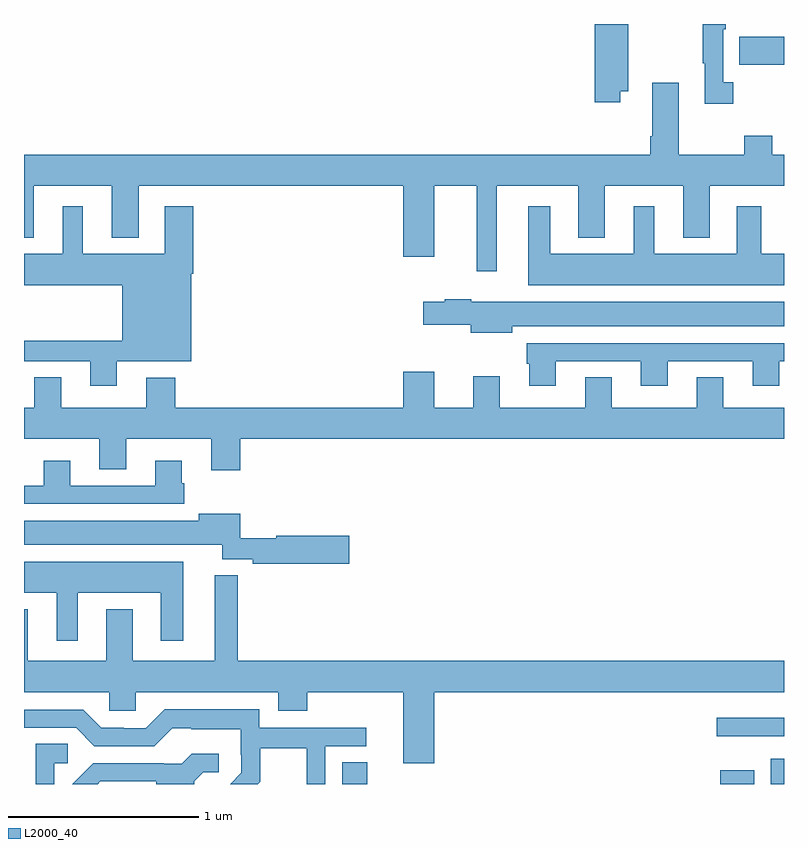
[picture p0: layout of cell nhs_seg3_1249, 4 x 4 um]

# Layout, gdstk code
import gdstk
lib = gdstk.Library(unit=1e-6, precision=1e-09)
def R(c, l, rs):  # rectangles x0, y0, x1, y1
    for r in rs: c.add(gdstk.rectangle(r[:2], r[2:], *l))
def P(c, l, *ps):  # polygons
    for p in ps: c.add(gdstk.Polygon(p, *l))
L2000_40 = (2000, 40)

nhs_seg3_1249 = lib.new_cell('nhs_seg3_1249')
R(nhs_seg3_1249, L2000_40, [(176.675,732.4,176.806,732.515), (178.664,732.4,178.843,732.472), (178.931,732.4,179,732.532), (178.647,732.651,179,732.748), (178.765,736.186,179,736.333)])
P(nhs_seg3_1249, L2000_40, [(178.138,736.046),(178.179,736.046),(178.179,736.4),(178.004,736.4),(178.004,735.987),(178.138,735.987)],
  [(178.732,736.094),(178.68,736.094),(178.68,736.373),(178.693,736.373),(178.693,736.4),(178.572,736.4),(178.572,736.193),(178.583,736.193),(178.583,735.981),(178.732,735.981)],
  [(177.487,735.548),(177.917,735.548),(177.917,735.275),(178.057,735.275),(178.057,735.548),(178.469,735.548),(178.469,735.275),(178.609,735.275),(178.609,735.548),(179,735.548),(179,735.712),(178.939,735.712),(178.939,735.811),(178.792,735.811),(178.792,735.712),(178.447,735.712),(178.447,736.09),(178.307,736.09),(178.307,735.808),(178.295,735.808),(178.295,735.712),(175,735.712),(175,735.275),(175.051,735.275),(175.051,735.548),(175.463,735.548),(175.463,735.275),(175.603,735.275),(175.603,735.548),(176.996,735.548),(176.996,735.174),(177.16,735.174),(177.16,735.548),(177.383,735.548),(177.383,735.099),(177.487,735.099)],
  [(179,735.19),(178.879,735.19),(178.879,735.442),(178.751,735.442),(178.751,735.19),(178.318,735.19),(178.318,735.442),(178.208,735.442),(178.208,735.19),(177.769,735.19),(177.769,735.442),(177.653,735.442),(177.653,735.026),(179,735.026)],
  [(175.489,734.624),(175.879,734.624),(175.879,735.086),(175.892,735.086),(175.892,735.442),(175.742,735.442),(175.742,735.19),(175.309,735.19),(175.309,735.442),(175.205,735.442),(175.205,735.19),(175,735.19),(175,735.026),(175.517,735.026),(175.517,734.734),(175,734.734),(175,734.625),(175.349,734.625),(175.349,734.496),(175.489,734.496)],
  [(177.571,734.81),(179,734.81),(179,734.938),(177.354,734.938),(177.354,734.951),(177.214,734.951),(177.214,734.938),(177.102,734.938),(177.102,734.816),(177.35,734.816),(177.35,734.774),(177.571,734.774)],
  [(177.799,734.625),(178.247,734.625),(178.247,734.496),(178.387,734.496),(178.387,734.625),(178.835,734.625),(178.835,734.496),(178.975,734.496),(178.975,734.625),(179,734.625),(179,734.721),(177.647,734.721),(177.647,734.613),(177.659,734.613),(177.659,734.496),(177.799,734.496)],
  [(179,734.38),(178.681,734.38),(178.681,734.54),(178.541,734.54),(178.541,734.38),(178.093,734.38),(178.093,734.54),(177.953,734.54),(177.953,734.38),(177.505,734.38),(177.505,734.545),(177.365,734.545),(177.365,734.38),(177.16,734.38),(177.16,734.569),(176.996,734.569),(176.996,734.38),(175.796,734.38),(175.796,734.539),(175.643,734.539),(175.643,734.38),(175.195,734.38),(175.195,734.54),(175.055,734.54),(175.055,734.38),(175,734.38),(175,734.216),(175.397,734.216),(175.397,734.056),(175.537,734.056),(175.537,734.216),(175.985,734.216),(175.985,734.052),(176.138,734.052),(176.138,734.216),(179,734.216)],
  [(175.844,733.983),(175.831,733.983),(175.831,734.101),(175.691,734.101),(175.691,733.971),(175.243,733.971),(175.243,734.101),(175.103,734.101),(175.103,733.971),(175,733.971),(175,733.875),(175.844,733.875)],
  [(176.713,733.706),(176.328,733.706),(176.328,733.693),(176.139,733.693),(176.139,733.822),(175.919,733.822),(175.919,733.786),(175,733.786),(175,733.658),(176.043,733.658),(176.043,733.584),(176.203,733.584),(176.203,733.559),(176.713,733.559)],
  [(175.282,733.406),(175.721,733.406),(175.721,733.155),(175.837,733.155),(175.837,733.57),(175,733.57),(175,733.406),(175.172,733.406),(175.172,733.155),(175.282,733.155)],
  [(177.16,732.884),(179,732.884),(179,733.048),(176.125,733.048),(176.125,733.498),(176.003,733.498),(176.003,733.048),(175.573,733.048),(175.573,733.321),(175.433,733.321),(175.433,733.048),(175.021,733.048),(175.021,733.321),(175,733.321),(175,732.884),(175.449,732.884),(175.449,732.786),(175.587,732.786),(175.587,732.884),(176.339,732.884),(176.339,732.785),(176.492,732.785),(176.492,732.884),(176.996,732.884),(176.996,732.51),(177.16,732.51)],
  [(176.243,732.413),(176.243,732.588),(176.488,732.588),(176.488,732.4),(176.586,732.4),(176.586,732.6),(176.8,732.6),(176.8,732.696),(176.238,732.696),(176.238,732.793),(175.741,732.793),(175.641,732.693),(175.526,732.693),(175.526,732.696),(175.407,732.696),(175.311,732.792),(175,732.792),(175,732.696),(175.275,732.696),(175.371,732.6),(175.686,732.6),(175.779,732.693),(175.879,732.693),(175.879,732.689),(176.142,732.689),(176.142,732.555),(176.144,732.555),(176.144,732.458),(176.086,732.4),(176.23,732.4)],
  [(175.158,732.51),(175.231,732.51),(175.231,732.611),(175.062,732.611),(175.062,732.4),(175.158,732.4)],
  [(175.402,732.414),(175.697,732.414),(175.697,732.4),(175.897,732.4),(175.897,732.415),(175.944,732.462),(176.026,732.462),(176.026,732.559),(175.882,732.559),(175.83,732.507),(175.736,732.507),(175.736,732.51),(175.364,732.51),(175.254,732.4),(175.388,732.4)])

lib.write_gds('nhs_seg3_1249.gds')
